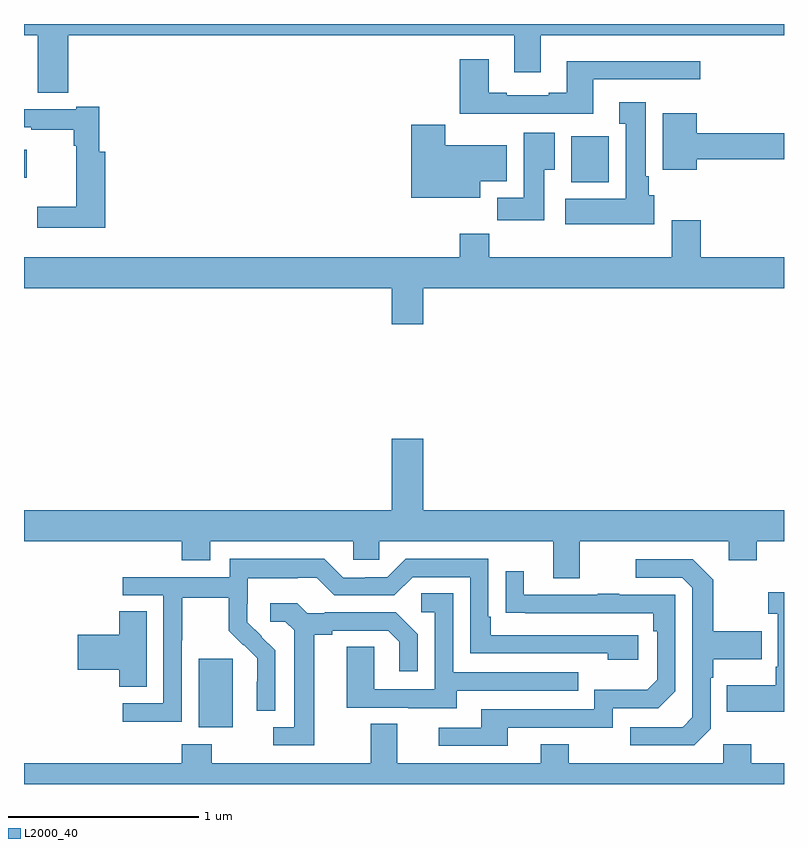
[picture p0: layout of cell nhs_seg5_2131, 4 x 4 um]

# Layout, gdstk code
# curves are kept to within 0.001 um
import gdstk
lib = gdstk.Library(unit=1e-6, precision=1e-09)
def R(c, l, rs):  # rectangles x0, y0, x1, y1
    for r in rs: c.add(gdstk.rectangle(r[:2], r[2:], *l))
def P(c, l, *ps):  # polygons
    for p in ps: c.add(gdstk.Polygon(p, *l))
L2000_40 = (2000, 40)

nhs_seg5_2131 = lib.new_cell('nhs_seg5_2131')
R(nhs_seg5_2131, L2000_40, [(235.919,873.098,236.098,873.459), (237.881,875.966,238.078,876.208), (235,875.989,235.015,876.136)])
P(nhs_seg5_2131, L2000_40, [(235.232,876.74),(237.581,876.74),(237.581,876.546),(237.721,876.546),(237.721,876.74),(239,876.74),(239,876.799),(235,876.799),(235,876.74),(235.072,876.74),(235.072,876.436),(235.232,876.436)],
  [(237.537,876.327),(237.997,876.327),(237.997,876.507),(238.558,876.507),(238.558,876.604),(237.857,876.604),(237.857,876.436),(237.761,876.436),(237.761,876.423),(237.541,876.423),(237.541,876.436),(237.445,876.436),(237.445,876.613),(237.293,876.613),(237.293,876.326),(237.537,876.326)],
  [(238.318,875.898),(238.288,875.898),(238.288,875.998),(238.273,875.998),(238.273,876.388),(238.133,876.388),(238.133,876.275),(238.166,876.275),(238.166,875.878),(237.849,875.878),(237.849,875.744),(238.318,875.744)],
  [(235.427,876.127),(235.397,876.127),(235.397,876.364),(235.274,876.364),(235.274,876.351),(235,876.351),(235,876.255),(235.039,876.255),(235.039,876.243),(235.261,876.243),(235.261,876.158),(235.276,876.158),(235.276,875.836),(235.071,875.836),(235.071,875.726),(235.427,875.726)],
  [(238.54,876.088),(239,876.088),(239,876.224),(238.54,876.224),(238.54,876.328),(238.361,876.328),(238.361,876.032),(238.54,876.032)],
  [(237.4,875.972),(237.541,875.972),(237.541,876.16),(237.216,876.16),(237.216,876.268),(237.038,876.268),(237.038,875.885),(237.4,875.885)],
  [(237.739,876.032),(237.793,876.032),(237.793,876.226),(237.629,876.226),(237.629,875.884),(237.49,875.884),(237.49,875.766),(237.739,875.766)],
  [(237.1,875.408),(239,875.408),(239,875.572),(238.562,875.572),(238.562,875.767),(238.409,875.767),(238.409,875.572),(237.449,875.572),(237.449,875.696),(237.293,875.696),(237.293,875.572),(235,875.572),(235,875.408),(236.936,875.408),(236.936,875.22),(237.1,875.22)],
  [(235,874.076),(235.829,874.076),(235.829,873.977),(235.981,873.977),(235.981,874.076),(236.733,874.076),(236.733,873.978),(236.871,873.978),(236.871,874.076),(237.785,874.076),(237.785,873.882),(237.925,873.882),(237.925,874.076),(238.709,874.076),(238.709,873.977),(238.857,873.977),(238.857,874.076),(239,874.076),(239,874.24),(237.1,874.24),(237.1,874.615),(236.936,874.615),(236.936,874.24),(235,874.24)],
  [(235.83,873.556),(235.833,873.556),(235.833,873.78),(236.077,873.78),(236.077,873.605),(236.154,873.528),(236.157,873.531),(236.228,873.461),(236.228,873.338),(236.226,873.338),(236.226,873.184),(236.322,873.184),(236.322,873.502),(236.176,873.65),(236.176,873.747),(236.178,873.747),(236.178,873.881),(236.441,873.881),(236.441,873.885),(236.541,873.885),(236.634,873.792),(236.949,873.792),(237.045,873.888),(237.348,873.888),(237.348,873.486),(238.073,873.486),(238.073,873.452),(238.234,873.452),(238.234,873.582),(237.457,873.582),(237.457,873.679),(237.444,873.679),(237.444,873.984),(237.009,873.984),(236.913,873.888),(236.795,873.888),(236.795,873.885),(236.679,873.885),(236.579,873.985),(236.082,873.985),(236.082,873.888),(235.521,873.888),(235.521,873.792),(235.734,873.792),(235.734,873.225),(235.521,873.225),(235.521,873.127),(235.83,873.127)],
  [(238.614,873.09),(238.614,873.359),(238.627,873.359),(238.627,873.455),(238.883,873.455),(238.883,873.603),(238.627,873.603),(238.627,873.875),(238.521,873.981),(238.221,873.981),(238.221,873.885),(238.464,873.885),(238.518,873.831),(238.518,873.15),(238.467,873.099),(238.191,873.099),(238.191,873.003),(238.527,873.003)],
  [(237.547,873.096),(238.098,873.096),(238.098,873.198),(238.338,873.198),(238.428,873.288),(238.428,873.795),(238.133,873.795),(238.133,873.8),(238.021,873.8),(238.021,873.795),(237.631,873.795),(237.631,873.919),(237.535,873.919),(237.535,873.7),(238.312,873.699),(238.312,873.602),(238.332,873.602),(238.332,873.348),(238.279,873.295),(238.002,873.295),(238.002,873.192),(237.407,873.192),(237.407,873.096),(237.183,873.096),(237.183,873),(237.547,873)],
  [(239,873.808),(238.917,873.808),(238.917,873.695),(238.968,873.695),(238.968,873.415),(238.956,873.415),(238.956,873.319),(238.699,873.319),(238.699,873.179),(239,873.179)],
  [(237.277,873.291),(237.917,873.291),(237.917,873.387),(237.258,873.387),(237.258,873.803),(237.09,873.803),(237.09,873.702),(237.162,873.702),(237.162,873.297),(236.844,873.297),(236.844,873.521),(236.699,873.521),(236.699,873.201),(237.023,873.201),(237.023,873.197),(237.277,873.197)],
  [(236.527,873.584),(236.623,873.584),(236.623,873.606),(236.918,873.606),(236.975,873.549),(236.975,873.393),(237.072,873.393),(237.072,873.586),(236.956,873.702),(236.584,873.702),(236.584,873.699),(236.49,873.699),(236.438,873.751),(236.295,873.751),(236.295,873.654),(236.376,873.654),(236.423,873.607),(236.423,873.099),(236.313,873.099),(236.313,873.003),(236.527,873.003)],
  [(235.645,873.707),(235.502,873.707),(235.502,873.584),(235.284,873.584),(235.284,873.401),(235.502,873.401),(235.502,873.31),(235.645,873.31)],
  [(239,872.908),(238.827,872.908),(238.827,873.007),(238.68,873.007),(238.68,872.908),(237.867,872.908),(237.867,873.007),(237.719,873.007),(237.719,872.908),(236.965,872.908),(236.965,873.116),(236.825,873.116),(236.825,872.908),(235.989,872.908),(235.989,873.007),(235.829,873.007),(235.829,872.908),(235,872.908),(235,872.799),(239,872.799)])

lib.write_gds('nhs_seg5_2131.gds')
